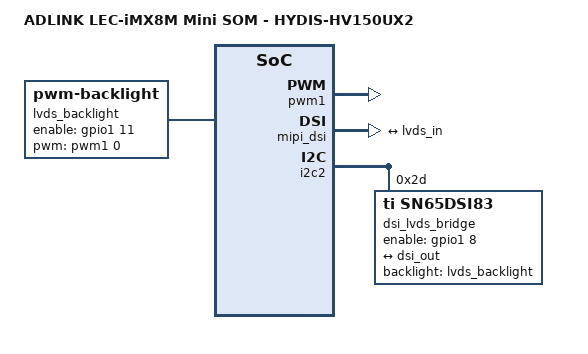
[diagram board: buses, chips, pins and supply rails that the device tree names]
/*
 *
 */


#include "lec-imx8mm.dts"

/{
	model = "ADLINK LEC-iMX8M Mini SOM - HYDIS-HV150UX2";
	
	lvds_backlight: lvds_backlight {
		compatible = "pwm-backlight";
		pwms = <&pwm1 0 100000>;
		enable-gpios = <&gpio1 11 GPIO_ACTIVE_HIGH>;		
		brightness-levels = < 0  1  2  3  4  5  6  7  8  9
				     10 11 12 13 14 15 16 17 18 19
				     20 21 22 23 24 25 26 27 28 29
				     30 31 32 33 34 35 36 37 38 39
				     40 41 42 43 44 45 46 47 48 49
				     50 51 52 53 54 55 56 57 58 59
				     60 61 62 63 64 65 66 67 68 69
				     70 71 72 73 74 75 76 77 78 79
				     80 81 82 83 84 85 86 87 88 89
				     90 91 92 93 94 95 96 97 98 99
				    100>;
		default-brightness-level = <80>;
		status = "okay";
	};		
};

&pwm1 {
	pinctrl-names = "default";
	pinctrl-0 = <&pinctrl_mipi_dsi_pwm>;
	status = "okay";
};

&iomuxc {
	pinctrl_mipi_dsi_blkt_en: mipi_dsi_blkt_engrp {    
		fsl,pins = <
		    MX8MM_IOMUXC_GPIO1_IO11_GPIO1_IO11	19
		>;
	};

	pinctrl_mipi_dsi_pwm: mipi_dsi_pwmgrp {            
		fsl,pins = <
		    MX8MM_IOMUXC_GPIO1_IO01_PWM1_OUT	0x116
		>;
	};

	i2c2grp {
		fsl,pins = <
			MX8MM_IOMUXC_I2C2_SCL_I2C2_SCL			0x400001c3
			MX8MM_IOMUXC_I2C2_SDA_I2C2_SDA			0x400001c3
			MX8MM_IOMUXC_NAND_CE0_B_GPIO3_IO1	    0x156
		>;
	};

	pinctrl_dis_bridge_enable: dsibridgeenablegrp {
		fsl,pins = <
			MX8MM_IOMUXC_NAND_CE0_B_GPIO3_IO1       0x19 //0x00000156
		>;
	};
};

&mipi_dsi {
	status = "okay";

	port@1 {
		dsi_out: endpoint {
			remote-endpoint = <&lvds_in>;
			attach-bridge;
		};
	};
};

&i2c2 {
	dsi_lvds_bridge: sn65dsi84@2d {
		reg = <0x2d>;
		status = "okay";
		compatible = "ti,sn65dsi83";
		pinctrl-0 = <&pinctrl_mipi_dsi_blkt_en>;
		enable-gpios = <&gpio1 8 GPIO_ACTIVE_HIGH>;
		pinctrl-names = "default";
		backlight = <&lvds_backlight>;

		ti,dsi-lanes = <4>;
		ti,lvds-format = <1>;
		ti,lvds-bpp = <18>;
		ti,lvds-channels = <2>;
		ti,width-mm = <304>;
		ti,height-mm = <228>;
		/*ti,burst-mode : bool */
		ti,burst-mode;
		/*ti,de-neg-polarity : bool*/
		ti,de-neg-polarity;
		
	    display-timings {
			lvds {
				clock-frequency = <81000000>;
				hactive = <1600>;
				vactive = <1200>;
				hback-porch = <180>;
				hfront-porch = <180>;
				vback-porch = <15>;
				vfront-porch = <15>;
				hsync-len = <200>;
				vsync-len = <20>;
				hsync-active = <1>;
				vsync-active = <1>;
				de-active = <1>;				
				pixelclk-active = <0>;
			};
		};

		port {
                lvds_in: endpoint {
                        remote-endpoint = <&dsi_out>;
                };
        };
	                    
	};
};

